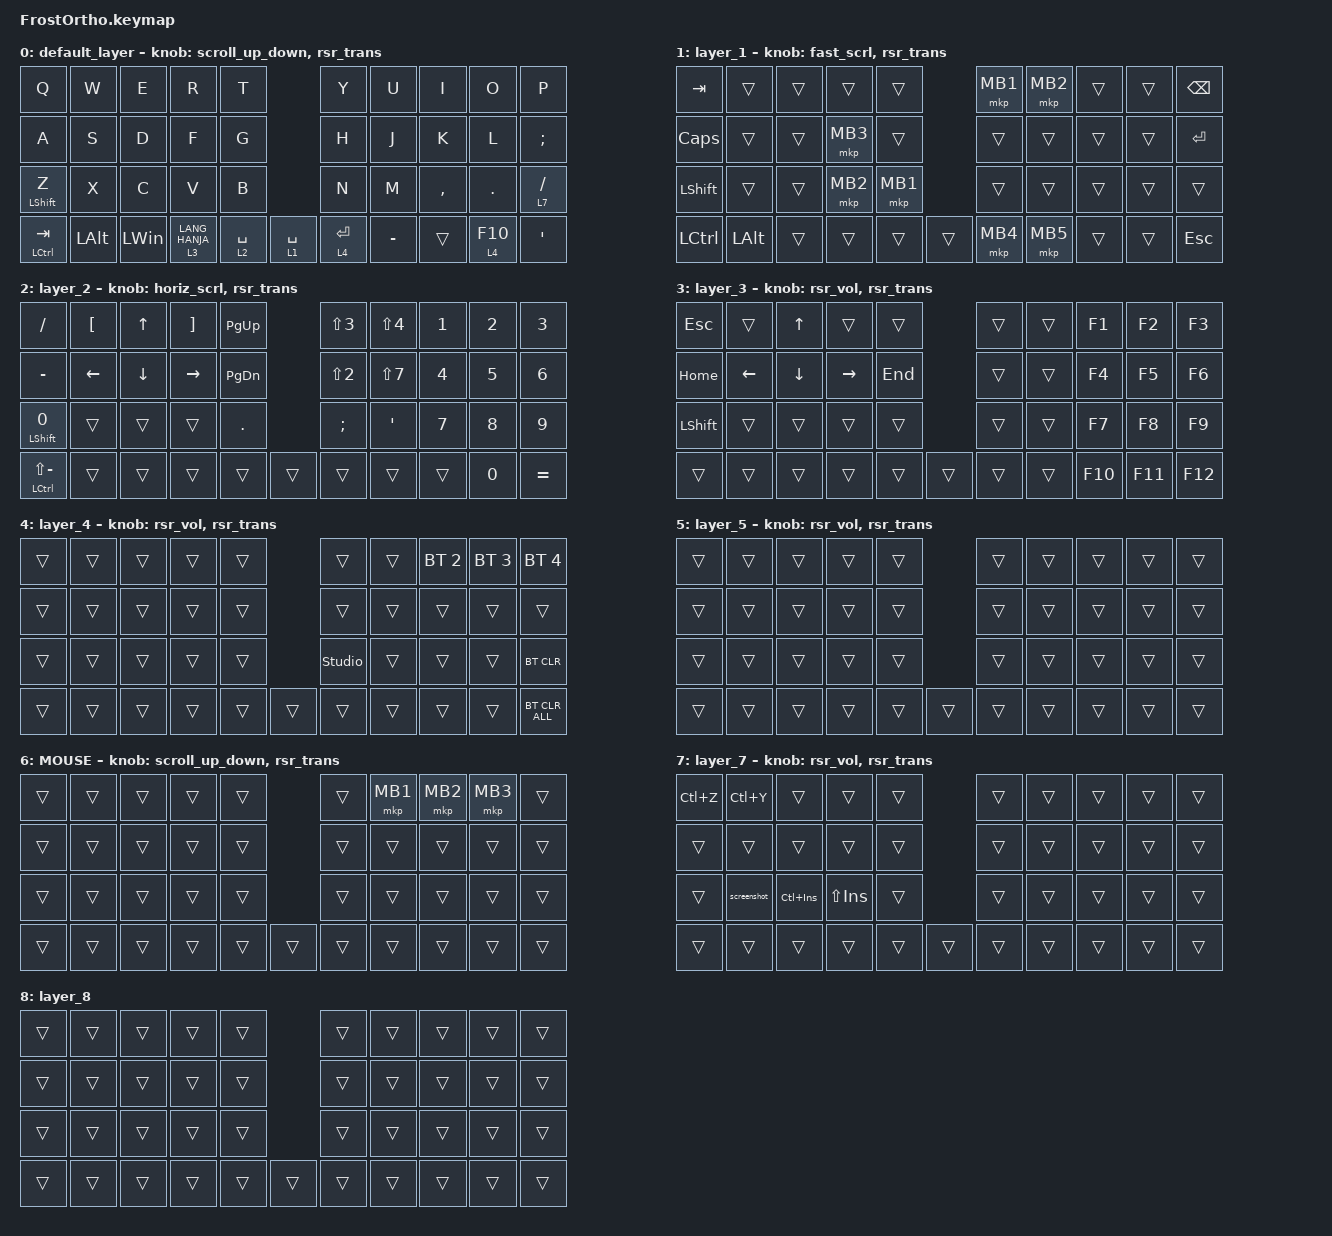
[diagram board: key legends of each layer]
#include <input/processors.dtsi>
#include <behaviors/runtime-sensor-rotate.dtsi>
#include <behaviors/runtime-sensor-rotate.dtsi>
#include <behaviors.dtsi>
#include <dt-bindings/zmk/bt.h>
#include <dt-bindings/zmk/keys.h>
#include <dt-bindings/zmk/pointing.h>

#define MOUSE 6
// Smooth scrolling needs mouse-movement-sized values. Keep the fast layer at 4x.
#define ENCODER_SCROLL_SPEED 600
#define FAST_SCROLL_SPEED 2400
#define ENCODER_SCROLL_TAP_MS 40

&mt {
    flavor = "balanced";
    quick-tap-ms = <0>;
};

// AML クリックしたときにタイムアウトを延長

&mkp_input_listener { input-processors = <&zip_temp_layer 6 10000>; };

/ {
    combos { compatible = "zmk,combos"; };

    macros {
        to_layer_0: to_layer_0 {
            compatible = "zmk,behavior-macro-one-param";
            #binding-cells = <1>;
            bindings = <&to 0 &macro_param_1to1 &kp MACRO_PLACEHOLDER>;
            label = "TO_LAYER_0";
        };

        screenshot: screenshot {
            compatible = "zmk,behavior-macro";
            #binding-cells = <0>;
            bindings =
                <&to 7>,
                <&macro_press>,
                <&kp LEFT_WIN &kp LEFT_SHIFT &kp S>,
                <&macro_release>,
                <&kp LEFT_WIN &kp LEFT_SHIFT &kp S>;

            label = "SCREENSHOT";
        };
    };

    behaviors {
        lt_to_layer_0: lt_to_layer_0 {
            compatible = "zmk,behavior-hold-tap";
            label = "LAYER_TAP_TO_0";
            bindings = <&mo>, <&to_layer_0>;

            #binding-cells = <2>;
            tapping-term-ms = <300>;
        };

        // Kyemap Editor用

        scroll_up_down: behavior_sensor_rotate_mouse_wheel_up_down {
            compatible = "zmk,behavior-sensor-rotate";
            #sensor-binding-cells = <0>;
            tap-ms = <ENCODER_SCROLL_TAP_MS>;
            bindings = <&msc MOVE_Y(ENCODER_SCROLL_SPEED)>,
                       <&msc MOVE_Y(-ENCODER_SCROLL_SPEED)>;
        };

        fast_scrl: fast_scrl {
            compatible = "zmk,behavior-sensor-rotate";
            #sensor-binding-cells = <0>;
            tap-ms = <ENCODER_SCROLL_TAP_MS>;
            bindings = <&msc MOVE_Y(FAST_SCROLL_SPEED)>, <&msc MOVE_Y(-FAST_SCROLL_SPEED)>;
        };

        horiz_scrl: horiz_scrl {
            compatible = "zmk,behavior-sensor-rotate";
            #sensor-binding-cells = <0>;
            tap-ms = <ENCODER_SCROLL_TAP_MS>;
            bindings = <&msc MOVE_X(ENCODER_SCROLL_SPEED)>,
                       <&msc MOVE_X(-ENCODER_SCROLL_SPEED)>;
        };

        vol_up_down: vol_up_down {
            compatible = "zmk,behavior-sensor-rotate";
            #sensor-binding-cells = <0>;
            tap-ms = <5>;
            bindings = <&kp C_VOL_DN>, <&kp C_VOL_UP>;
        };

        // DYA Studio用

        rsr_vol: rsr_vol {
            compatible = "zmk,behavior-runtime-sensor-rotate";
            #sensor-binding-cells = <0>;
            tap-ms = <5>;
            cw-binding = <&kp C_VOL_DN>;
            ccw-binding = <&kp C_VOL_UP>;
        };
    };

    keymap {
        compatible = "zmk,keymap";

        default_layer {
            bindings = <
&kp Q                 &kp W         &kp E         &kp R             &kp T                         &kp Y        &kp U      &kp I      &kp O       &kp P
&kp A                 &kp S         &kp D         &kp F             &kp G                         &kp H        &kp J      &kp K      &kp L       &kp SEMI
&mt LEFT_SHIFT Z      &kp X         &kp C         &kp V             &kp B                         &kp N        &kp M      &kp COMMA  &kp PERIOD  &lt 7 SLASH
&mt LEFT_CONTROL TAB  &kp LEFT_ALT  &kp LEFT_WIN  &lt 3 LANG_HANJA  &lt 2 SPACE  &lt 1 SPACE      &lt 4 ENTER  &kp MINUS  &trans     &lt 4 F10   &kp SQT
            >;

            sensor-bindings = <&scroll_up_down>, <&rsr_trans>;
        };

        layer_1 {
            bindings = <
&kp TAB         &trans        &trans  &trans    &trans                &mkp MB1  &mkp MB2  &trans  &trans  &kp BACKSPACE
&kp CAPS        &trans        &trans  &mkp MB3  &trans                &trans    &trans    &trans  &trans  &kp ENTER
&kp LEFT_SHIFT  &trans        &trans  &mkp MB2  &mkp MB1              &trans    &trans    &trans  &trans  &trans
&kp LCTRL       &kp LEFT_ALT  &trans  &trans    &trans    &trans      &mkp MB4  &mkp MB5  &trans  &trans  &kp ESCAPE
            >;

            sensor-bindings = <&fast_scrl>, <&rsr_trans>;
        };

        layer_2 {
            bindings = <
&kp SLASH                   &kp LBKT  &kp UP    &kp RBKT   &kp PG_UP                  &kp LS(NUMBER_3)  &kp LS(NUMBER_4)  &kp NUMBER_1  &kp NUMBER_2  &kp NUMBER_3
&kp MINUS                   &kp LEFT  &kp DOWN  &kp RIGHT  &kp PAGE_DOWN              &kp LS(N2)        &kp LS(N7)        &kp NUMBER_4  &kp NUMBER_5  &kp NUMBER_6
&mt LEFT_SHIFT N0           &trans    &trans    &trans     &kp PERIOD                 &kp SEMICOLON     &kp SQT           &kp NUMBER_7  &kp NUMBER_8  &kp NUMBER_9
&mt LEFT_CONTROL LS(MINUS)  &trans    &trans    &trans     &trans         &trans      &trans            &trans            &trans        &kp NUMBER_0  &kp EQUAL
            >;

            sensor-bindings = <&horiz_scrl>, <&rsr_trans>;
        };

        layer_3 {
            bindings = <
&kp ESCAPE      &trans          &kp UP_ARROW    &trans           &trans               &trans  &trans  &kp F1   &kp F2   &kp F3
&kp HOME        &kp LEFT_ARROW  &kp DOWN_ARROW  &kp RIGHT_ARROW  &kp END              &trans  &trans  &kp F4   &kp F5   &kp F6
&kp LEFT_SHIFT  &trans          &trans          &trans           &trans               &trans  &trans  &kp F7   &kp F8   &kp F9
&trans          &trans          &trans          &trans           &trans   &trans      &trans  &trans  &kp F10  &kp F11  &kp F12
            >;

            sensor-bindings = <&rsr_vol &rsr_trans>;
        };

        layer_4 {
            bindings = <
&trans  &trans  &trans  &trans  &trans              &trans          &trans  &bt BT_SEL 2  &bt BT_SEL 3  &bt BT_SEL 4
&trans  &trans  &trans  &trans  &trans              &trans          &trans  &trans        &trans        &trans
&trans  &trans  &trans  &trans  &trans              &studio_unlock  &trans  &trans        &trans        &bt BT_CLR
&trans  &trans  &trans  &trans  &trans  &trans      &trans          &trans  &trans        &trans        &bt BT_CLR_ALL
            >;

            sensor-bindings = <&rsr_vol &rsr_trans>;
        };

        layer_5 {
            bindings = <
&trans  &trans  &trans  &trans  &trans              &trans  &trans  &trans  &trans  &trans
&trans  &trans  &trans  &trans  &trans              &trans  &trans  &trans  &trans  &trans
&trans  &trans  &trans  &trans  &trans              &trans  &trans  &trans  &trans  &trans
&trans  &trans  &trans  &trans  &trans  &trans      &trans  &trans  &trans  &trans  &trans
            >;

            sensor-bindings = <&rsr_vol &rsr_trans>;
        };

        MOUSE {
            bindings = <
&trans  &trans  &trans  &trans  &trans              &trans  &mkp MB1  &mkp MB2  &mkp MB3  &trans
&trans  &trans  &trans  &trans  &trans              &trans  &trans    &trans    &trans    &trans
&trans  &trans  &trans  &trans  &trans              &trans  &trans    &trans    &trans    &trans
&trans  &trans  &trans  &trans  &trans  &trans      &trans  &trans    &trans    &trans    &trans
            >;

sensor-bindings = <&scroll_up_down &rsr_trans>;
        };

        layer_7 {
            bindings = <
&kp LC(Z)  &kp LC(Y)    &trans       &trans       &trans              &trans  &trans  &trans  &trans  &trans
&trans     &trans       &trans       &trans       &trans              &trans  &trans  &trans  &trans  &trans
&trans     &screenshot  &kp LC(INS)  &kp LS(INS)  &trans              &trans  &trans  &trans  &trans  &trans
&trans     &trans       &trans       &trans       &trans  &trans      &trans  &trans  &trans  &trans  &trans
            >;

            sensor-bindings = <&rsr_vol &rsr_trans>;
        };

        layer_8 {
            bindings = <
&trans  &trans  &trans  &trans  &trans              &trans  &trans  &trans  &trans  &trans
&trans  &trans  &trans  &trans  &trans              &trans  &trans  &trans  &trans  &trans
&trans  &trans  &trans  &trans  &trans              &trans  &trans  &trans  &trans  &trans
&trans  &trans  &trans  &trans  &trans  &trans      &trans  &trans  &trans  &trans  &trans
            >;
        };
    };
};
